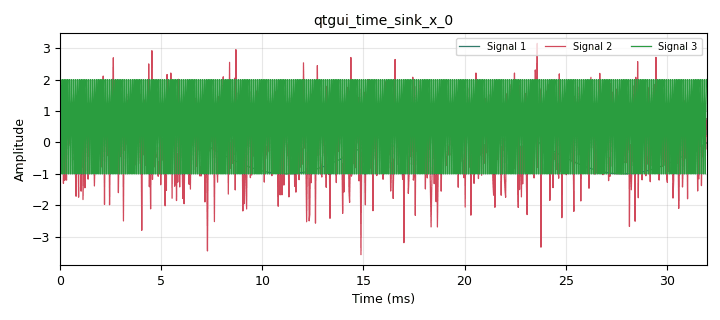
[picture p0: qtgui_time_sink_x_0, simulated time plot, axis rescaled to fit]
options:
  parameters:
    author: labcom
    generate_options: qt_gui
    id: lab1
    output_language: python
    title: Not titled yet
  states: {}

blocks:
- name: samp_rate
  id: variable
  parameters:
    value: '32000'
  states: {}
- name: analog_noise_source_x_1
  id: analog_noise_source_x
  parameters:
    amp: '1'
    noise_type: analog.GR_GAUSSIAN
    seed: '0'
    type: float
  states: {}
- name: analog_sig_source_x_0
  id: analog_sig_source_x
  parameters:
    amp: '1'
    freq: '60'
    offset: '0'
    phase: '0'
    samp_rate: samp_rate
    type: float
    waveform: analog.GR_SIN_WAVE
  states: {}
- name: blocks_vector_source_x_0
  id: blocks_vector_source_x
  parameters:
    repeat: 'True'
    type: float
    vector: (1, 2, -1)
  states: {}
- name: epy_block_0
  id: epy_block
  parameters:
    _source_code: |
      import numpy as np
      from gnuradio import gr

      class StatsBlock(gr.sync_block):
          def __init__(self):
              gr.sync_block.__init__(
                  self,
                  name='Stats_Block',
                  in_sig=[np.float32],
                  out_sig=[np.float32, np.float32, np.float32, np.float32, np.float32]
              )
              self.sum_x = 0
              self.sum_x2 = 0
              self.sum_x3 = 0
              self.N = 0

          def work(self, input_items, output_items):
              x = input_items[0]

              N = len(x)
              self.N += N

              # Calculating sum of x, x^2, x^3
              self.sum_x += np.sum(x)
              self.sum_x2 += np.sum(x ** 2)
              self.sum_x3 += np.sum(x ** 3)

              # Calculating mean
              mean = self.sum_x / self.N
              output_items[0][:] = mean

              # Calculating mean square
              mean_square = self.sum_x2 / self.N
              output_items[1][:] = mean_square

              # Calculating RMS
              rms = np.sqrt(mean_square)
              output_items[2][:] = rms

              # Calculating average power
              average_power = mean_square
              output_items[3][:] = average_power

              # Calculating standard deviation
              standard_deviation = np.sqrt((self.sum_x2 - 2 * mean * self.sum_x + self.N * mean ** 2) / self.N)
              output_items[4][:] = standard_deviation

              return len(x)
  states: {}
- name: qtgui_number_sink_0
  id: qtgui_number_sink
  parameters:
    graph_type: qtgui.NUM_GRAPH_HORIZ
    name: Media
    type: float
  states: {}
- name: qtgui_number_sink_0_0
  id: qtgui_number_sink
  parameters:
    graph_type: qtgui.NUM_GRAPH_HORIZ
    name: Media Cuadratica
    type: float
  states: {}
- name: qtgui_number_sink_0_1
  id: qtgui_number_sink
  parameters:
    graph_type: qtgui.NUM_GRAPH_HORIZ
    name: RMS
    type: float
  states: {}
- name: qtgui_number_sink_0_2
  id: qtgui_number_sink
  parameters:
    graph_type: qtgui.NUM_GRAPH_HORIZ
    name: Potencia Promedio
    type: float
  states: {}
- name: qtgui_number_sink_0_2_0
  id: qtgui_number_sink
  parameters:
    graph_type: qtgui.NUM_GRAPH_HORIZ
    name: Desviacion Estandar
    type: float
  states: {}
- name: qtgui_time_sink_x_0
  id: qtgui_time_sink_x
  parameters:
    nconnections: '3'
    size: '1024'
    srate: samp_rate
    type: float
  states: {}

connections:
- [analog_noise_source_x_1, '0', qtgui_time_sink_x_0, '1']
- [analog_sig_source_x_0, '0', qtgui_time_sink_x_0, '0']
- [blocks_vector_source_x_0, '0', epy_block_0, '0']
- [blocks_vector_source_x_0, '0', qtgui_time_sink_x_0, '2']
- [epy_block_0, '0', qtgui_number_sink_0, '0']
- [epy_block_0, '1', qtgui_number_sink_0_0, '0']
- [epy_block_0, '2', qtgui_number_sink_0_1, '0']
- [epy_block_0, '3', qtgui_number_sink_0_2, '0']
- [epy_block_0, '4', qtgui_number_sink_0_2_0, '0']

metadata:
  file_format: 1
  grc_version: 3.10.9.2
